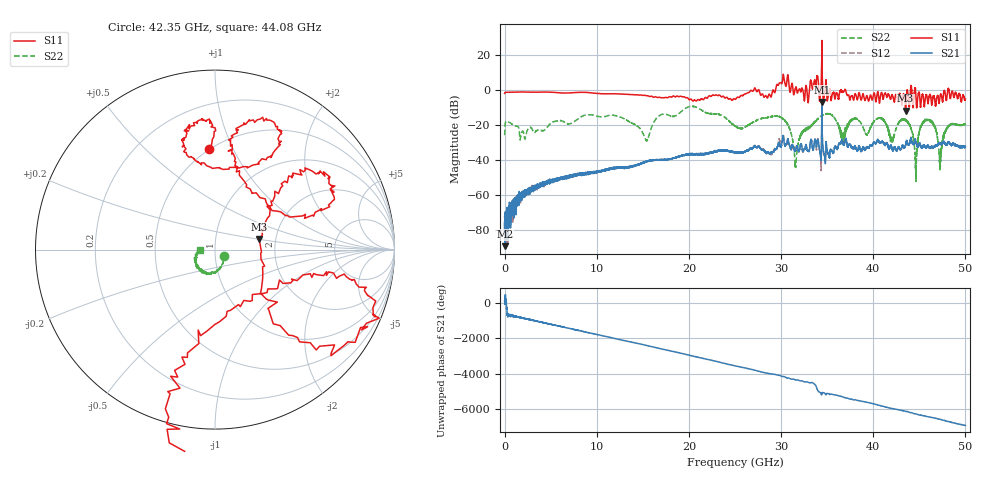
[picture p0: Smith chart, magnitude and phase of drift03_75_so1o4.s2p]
!Created with skrf (http://scikit-rf.org).
# Hz S RI R 50.0
!freq ReS11 ImS11 ReS21 ImS21 ReS12 ImS12 ReS22 ImS22
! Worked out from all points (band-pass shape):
!   10000 points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, 5.3 MHz to 50 GHz, reference 50 ohm
!   highest |S21| = -6.97 dB at 34.43 GHz (marker M1); lowest = -89.2 dB at 30.3 MHz (marker M2)
!   |S21| within 3 dB of the highest: 34.42719 GHz to 34.43522 GHz (8.022 MHz wide, 0.0233 % of centre)
!   lowest |S11| = -11.9 dB at 43.51 GHz (marker M3), VSWR 1.68, Z = 81.8 + j10.3 ohm
!   |S11| at or under -10 dB: 43.48467 GHz to 43.55115 GHz (66.48 MHz wide, 0.153 % of centre); 44.31298 GHz to 44.31789 GHz (4.905 MHz wide, 0.0111 % of centre); 44.32195 GHz to 44.32947 GHz (7.524 MHz wide, 0.017 % of centre) (the widest 3 of 5)
!   |S22| runs from -52.3 to -9.4 dB; largest |S21 - S12| = 0.13
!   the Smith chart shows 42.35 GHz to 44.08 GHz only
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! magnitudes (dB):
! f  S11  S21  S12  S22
! 5.3 MHz  -2.1  -76.3  -79.6  -25.9
! 30.3 MHz  -1.8  -89.2  -77.8  -22.5
! 2.44 GHz  -1.4  -58.3  -59.1  -23.6
! 8.34 GHz  -1.5  -48.1  -48.1  -15.3
! 15.4 GHz  -3.4  -40.8  -40.9  -29.0
! 16.67 GHz  -4.4  -40.1  -40.0  -15.3
! 20.47 GHz  -6.5  -36.9  -36.7  -9.5
! 25.01 GHz  -5.5  -35.9  -35.9  -20.7
! 29.92 GHz  4.0  -32.7  -31.4  -15.6
! 31.59 GHz  1.4  -33.8  -34.0  -44.2
! 33.34 GHz  2.6  -30.2  -30.7  -20.1
! 34.43 GHz  28.1  -7.0  -8.8  -14.4
! 36.7 GHz  -1.4  -30.0  -29.8  -26.2
! 37.97 GHz  -3.1  -32.4  -32.4  -16.1
! 41.67 GHz  -2.9  -33.2  -33.3  -23.2
! 43.51 GHz  -11.9  -31.5  -31.7  -17.5
! 44.62 GHz  -2.4  -29.3  -29.6  -44.3
! 45.63 GHz  -6.0  -32.7  -32.6  -16.8
! 46.55 GHz  -3.4  -32.8  -32.7  -19.5
! 47.28 GHz  -3.0  -30.8  -30.7  -44.5
! 48.19 GHz  0.5  -29.8  -29.9  -20.8
! 50 GHz  -5.3  -32.6  -32.6  -19.5
